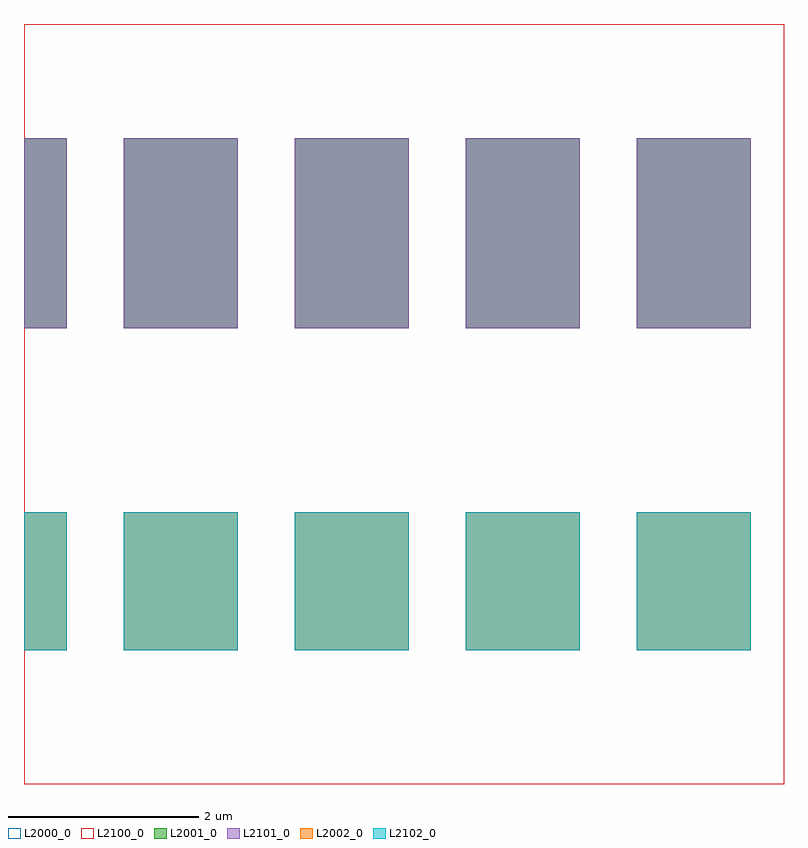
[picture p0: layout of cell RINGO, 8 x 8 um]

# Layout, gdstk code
import gdstk
lib = gdstk.Library(unit=1e-6, precision=1e-09)
def R(c, l, rs):  # rectangles x0, y0, x1, y1
    for r in rs: c.add(gdstk.rectangle(r[:2], r[2:], *l))
def A(c, l, x, y, w, h, nx, ny, dx, dy):  # array of equal rectangles
    R(c, l, [(x+i*dx, y+j*dy, x+i*dx+w, y+j*dy+h) for i in range(nx) for j in range(ny)])
L2000_0 = (2000, 0)
L2001_0 = (2001, 0)
L2002_0 = (2002, 0)
L2100_0 = (2100, 0)
L2101_0 = (2101, 0)
L2102_0 = (2102, 0)

pmos3_clip_var = lib.new_cell('PMOS3$CLIP_VAR')
R(pmos3_clip_var, L2101_0, [(0.7,-0.25,1.15,1.75)])

nmos2_clip_var = lib.new_cell('NMOS2$CLIP_VAR')
R(nmos2_clip_var, L2102_0, [(0.7,-0.25,1.15,1.2)])

invx1_clip_var = lib.new_cell('INVX1$CLIP_VAR')
invx1_clip_var.add(gdstk.Reference(pmos3_clip_var, (0.3,5.05)))
invx1_clip_var.add(gdstk.Reference(nmos2_clip_var, (0.3,1.66)))

pmos3 = lib.new_cell('PMOS3')
R(pmos3, L2101_0, [(-0.05,-0.25,1.15,1.75)])

nmos2 = lib.new_cell('NMOS2')
R(nmos2, L2102_0, [(-0.05,-0.25,1.15,1.2)])

invx1_clip_var_1 = lib.new_cell('INVX1$CLIP_VAR$1')
invx1_clip_var_1.add(gdstk.Reference(pmos3, (0.3,5.05)))
invx1_clip_var_1.add(gdstk.Reference(nmos2, (0.3,1.66)))

invx1_clip_var_2 = lib.new_cell('INVX1$CLIP_VAR$2')
invx1_clip_var_2.add(gdstk.Reference(pmos3, (0.3,5.05)))
invx1_clip_var_2.add(gdstk.Reference(nmos2, (0.3,1.66)))

ringo = lib.new_cell('RINGO')
R(ringo, L2000_0, [(7,0,15,8)])
A(ringo, L2001_0, 8.05, 4.8, 1.2, 2, 4, 1, 1.8, 0)
R(ringo, L2001_0, [(7,4.8,7.45,6.8)])
A(ringo, L2002_0, 8.05, 1.41, 1.2, 1.45, 4, 1, 1.8, 0)
R(ringo, L2002_0, [(7,1.41,7.45,2.86)])
R(ringo, L2100_0, [(7,0,15,8)])
ringo.add(gdstk.Reference(invx1_clip_var, (6,0)))
ringo.add(gdstk.Reference(invx1_clip_var_1, (7.8,0)))
ringo.add(gdstk.Reference(invx1_clip_var_1, (9.6,0)))
ringo.add(gdstk.Reference(invx1_clip_var_1, (11.4,0)))
ringo.add(gdstk.Reference(invx1_clip_var_2, (13.2,0)))

lib.write_gds('RINGO.gds')
